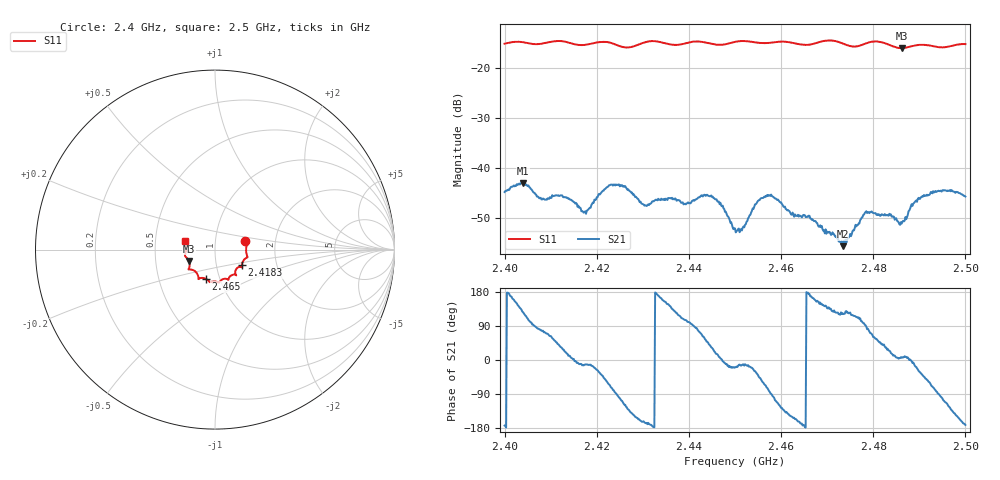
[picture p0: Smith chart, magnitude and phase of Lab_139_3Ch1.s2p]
# Hz S RI R 50
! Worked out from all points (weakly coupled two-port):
!   601 points, 2.4 GHz to 2.5 GHz, reference 50 ohm
!   highest |S21| = -43.07 dB at 2.404 GHz (marker M1); lowest = -55.7 dB at 2.4733 GHz (marker M2)
!   lowest |S11| = -16.0 dB at 2.4862 GHz (marker M3), VSWR 1.38, Z = 37.1 - j4.82 ohm
!   |S11| at or under -10 dB: start of sweep to end of sweep
!   S12 and S22 are empty: the file has one direction only
!   S11 on the Smith chart (normalised r, x): 2.4 GHz: 1.40, +0.13; 2.4183 GHz: 1.33, -0.24; 2.465 GHz: 0.86, -0.29; 2.5 GHz: 0.71, +0.07
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2.4e9  0.1689 0.0459  -0.00569 -0.00069  0 0  0 0
2.404e9  0.179 0.0269  -0.00413 0.00568  0 0  0 0
2.407667e9  0.1736 -0.0117  0.000868 0.0049  0 0  0 0
2.4125e9  0.1803 -0.043  0.00456 0.0027  0 0  0 0
2.416667e9  0.155 -0.0683  0.00362 -0.000691  0 0  0 0
2.418333e9  0.1499 -0.0869  0.0038 -0.000848  0 0  0 0
2.423333e9  0.1474 -0.0973  0.0018 -0.00657  0 0  0 0
2.430333e9  0.1148 -0.1387  -0.00404 -0.00111  0 0  0 0
2.433333e9  0.1169 -0.1411  -0.00483 0.000874  0 0  0 0
2.444667e9  0.064 -0.163  0.00414 0.00313  0 0  0 0
2.45e9  0.0253 -0.1807  0.00234 -0.000811  0 0  0 0
2.4515e9  0.0218 -0.1848  0.0023 -0.000548  0 0  0 0
2.457333e9  -0.0126 -0.1777  0.000834 -0.00527  0 0  0 0
2.465e9  -0.0528 -0.1622  -0.00335 -0.000418  0 0  0 0
2.466667e9  -0.0714 -0.1576  -0.00293 0.000735  0 0  0 0
2.473333e9  -0.0929 -0.1495  -0.000911 0.00137  0 0  0 0
2.478333e9  -0.1364 -0.1107  -9.47e-05 0.00361  0 0  0 0
2.483333e9  -0.142 -0.0959  0.003 0.00143  0 0  0 0
2.486167e9  -0.1446 -0.0634  0.00275 0.000296  0 0  0 0
2.488833e9  -0.1617 -0.0417  0.00438 -0.000756  0 0  0 0
2.493e9  -0.1641 -0.0192  0.00176 -0.00557  0 0  0 0
2.5e9  -0.1669 0.0471  -0.0051 -0.000772  0 0  0 0
